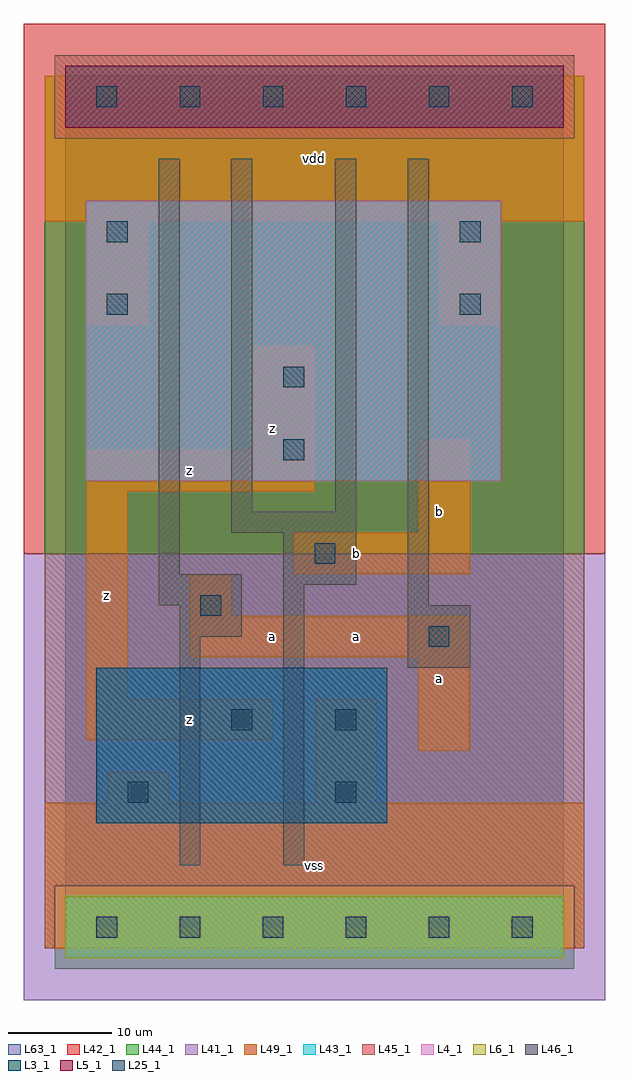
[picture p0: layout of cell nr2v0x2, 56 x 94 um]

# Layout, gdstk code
import gdstk
lib = gdstk.Library(unit=1e-6, precision=1e-09)
def R(c, l, rs):  # rectangles x0, y0, x1, y1
    for r in rs: c.add(gdstk.rectangle(r[:2], r[2:], *l))
def A(c, l, x, y, w, h, nx, ny, dx, dy):  # array of equal rectangles
    R(c, l, [(x+i*dx, y+j*dy, x+i*dx+w, y+j*dy+h) for i in range(nx) for j in range(ny)])
L3_1 = (3, 1)
L4_1 = (4, 1)
L5_1 = (5, 1)
L6_1 = (6, 1)
L25_1 = (25, 1)
L41_1 = (41, 1)
L42_1 = (42, 1)
L43_1 = (43, 1)
L44_1 = (44, 1)
L45_1 = (45, 1)
L46_1 = (46, 1)
L49_1 = (49, 1)
L63_1 = (63, 1)

nr2v0x2 = lib.new_cell('nr2v0x2')
R(nr2v0x2, L3_1, [(3,10,31,25)])
R(nr2v0x2, L4_1, [(2,43,42,70)])
R(nr2v0x2, L5_1, [(0,77,48,83)])
R(nr2v0x2, L6_1, [(0,-3,48,3), (0,-3,48,3)])
A(nr2v0x2, L25_1, 3, -1, 2, 2, 6, 2, 8, 80)
R(nr2v0x2, L25_1, [(6,12,8,14), (26,12,28,14), (16,19,18,21), (26,19,28,21), (35,27,37,29), (13,30,15,32), (24,35,26,37), (21,45,23,47), (21,52,23,54), (4,59,6,61), (38,59,40,61), (4,66,6,68), (38,66,40,68)])
R(nr2v0x2, L41_1, [(-4,-7,52,36)])
R(nr2v0x2, L42_1, [(-4,36,52,87)])
R(nr2v0x2, L43_1, [(0,-3,48,3), (3,10,31,25), (2,43,42,70), (0,77,48,83)])
R(nr2v0x2, L44_1, [(-1,-4,49,4), (-2,36,50,76), (-2,76,-1,82), (49,76,50,82)])
R(nr2v0x2, L45_1, [(-2,-2,-1,4), (49,-2,50,4), (-2,4,50,36), (-1,76,49,84)])
R(nr2v0x2, L46_1, [(11,6,13,28), (21,6,23,33), (33,25,39,31), (11,28,17,31), (9,31,17,34), (33,31,35,74), (21,33,28,38), (9,34,11,74), (16,38,28,40), (16,40,18,74), (26,40,28,74)])
R(nr2v0x2, L49_1, [(-2,-2,50,12), (4,12,10,15), (24,12,30,22), (34,17,39,26), (2,18,20,22), (2,22,6,42), (12,26,39,30), (12,30,16,34), (22,34,39,38), (34,38,39,47), (2,42,24,46), (18,46,24,56), (2,58,8,68), (36,58,42,68), (-2,68,50,82)])
R(nr2v0x2, L63_1, [(0,0,48,80)])
nr2v0x2.add(gdstk.Label('z', (4,32), layer=49, texttype=1))
nr2v0x2.add(gdstk.Label('z', (12,20), layer=49, texttype=1))
nr2v0x2.add(gdstk.Label('a', (20,28), layer=49, texttype=1))
nr2v0x2.add(gdstk.Label('z', (12,44), layer=49, texttype=1))
nr2v0x2.add(gdstk.Label('z', (20,48), layer=49, texttype=1))
nr2v0x2.add(gdstk.Label('vss', (24,6), layer=49, texttype=1))
nr2v0x2.add(gdstk.Label('a', (28,28), layer=49, texttype=1))
nr2v0x2.add(gdstk.Label('b', (28,36), layer=49, texttype=1))
nr2v0x2.add(gdstk.Label('vdd', (24,74), layer=49, texttype=1))
nr2v0x2.add(gdstk.Label('a', (36,24), layer=49, texttype=1))
nr2v0x2.add(gdstk.Label('b', (36,40), layer=49, texttype=1))

lib.write_gds('nr2v0x2.gds')
